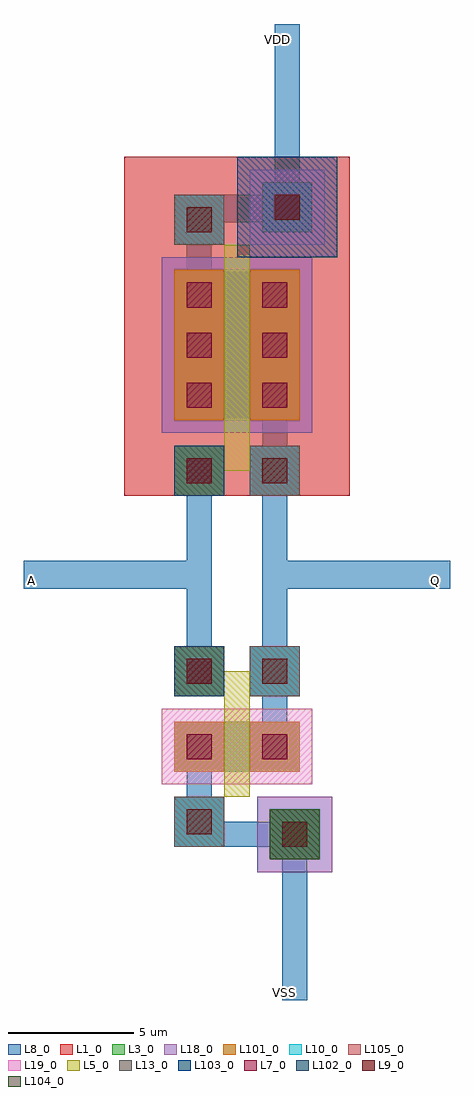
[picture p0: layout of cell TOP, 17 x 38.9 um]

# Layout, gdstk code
import gdstk
lib = gdstk.Library(unit=1e-6, precision=1e-07)
def R(c, l, rs):  # rectangles x0, y0, x1, y1
    for r in rs: c.add(gdstk.rectangle(r[:2], r[2:], *l))
L1_0 = (1, 0)
L3_0 = (3, 0)
L5_0 = (5, 0)
L7_0 = (7, 0)
L8_0 = (8, 0)
L9_0 = (9, 0)
L10_0 = (10, 0)
L13_0 = (13, 0)
L18_0 = (18, 0)
L19_0 = (19, 0)
L101_0 = (101, 0)
L102_0 = (102, 0)
L103_0 = (103, 0)
L104_0 = (104, 0)
L105_0 = (105, 0)

dcont = lib.new_cell('dcont')
R(dcont, L3_0, [(-1,-1,1,1)])
R(dcont, L7_0, [(-0.5,-0.5,0.5,0.5)])
R(dcont, L8_0, [(-1,-1,1,1)])
R(dcont, L13_0, [(-0.5,-0.5,0.5,0.5)])
R(dcont, L101_0, [(-1,-1,1,1)])

pcont = lib.new_cell('pcont')
R(pcont, L5_0, [(-1,-1,1,1)])
R(pcont, L7_0, [(-0.5,-0.5,0.5,0.5)])
R(pcont, L8_0, [(-1,-1,1,1)])
R(pcont, L13_0, [(-0.5,-0.5,0.5,0.5)])
R(pcont, L102_0, [(-1,-1,1,1)])

via = lib.new_cell('Via')
R(via, L8_0, [(-1,-1,1,1)])
R(via, L9_0, [(-0.5,-0.5,0.5,0.5)])
R(via, L10_0, [(-1,-1,1,1)])
R(via, L13_0, [(-0.5,-0.5,0.5,0.5)])
R(via, L105_0, [(-1,-1,1,1)])

dcont1 = lib.new_cell('dcont1')
R(dcont1, L3_0, [(-1,-1,1,1)])
R(dcont1, L7_0, [(-0.5,-0.5,0.5,0.5)])
R(dcont1, L8_0, [(-1,-1,1,1)])
R(dcont1, L13_0, [(-0.5,-0.5,0.5,0.5)])
R(dcont1, L101_0, [(-1,-1,1,1)])

nsubcont = lib.new_cell('nsubcont')
R(nsubcont, L1_0, [(-2,-2,2,2)])
R(nsubcont, L19_0, [(-1.5,-1.5,1.5,1.5)])
R(nsubcont, L103_0, [(-2,-2,2,2)])
nsubcont.add(gdstk.Reference(dcont1, (0,0)))

pch = lib.new_cell('Pch')
R(pch, L1_0, [(-2,0,7,13.5)])
R(pch, L3_0, [(0,3,5,9)])
R(pch, L18_0, [(-0.5,2.5,5.5,9.5)])
pch.add(gdstk.FlexPath([(2.5,3),(2.5,9)], 1, ends=(1, 1), simple_path=True, layer=5, datatype=0))  # L5_0
pch.add(gdstk.FlexPath([(1,1.5),(2.5,1.5),(2.5,2)], 1, ends="flush", simple_path=True, layer=5, datatype=0))  # L5_0
pch.add(gdstk.FlexPath([(1,3),(1,9)], 2, ends="flush", simple_path=True, layer=8, datatype=0))  # L8_0
pch.add(gdstk.FlexPath([(4,3),(4,9)], 2, ends="flush", simple_path=True, layer=8, datatype=0))  # L8_0
pch.add(gdstk.FlexPath([(1,8),(1,11)], 1, ends="flush", simple_path=True, layer=8, datatype=0))  # L8_0
pch.add(gdstk.FlexPath([(4,1),(4,4)], 1, ends="flush", simple_path=True, layer=8, datatype=0))  # L8_0
pch.add(gdstk.Reference(dcont, (1,4)))
pch.add(gdstk.Reference(dcont, (1,6)))
pch.add(gdstk.Reference(dcont, (1,8)))
pch.add(gdstk.Reference(dcont, (4,4)))
pch.add(gdstk.Reference(dcont, (4,6)))
pch.add(gdstk.Reference(dcont, (4,8)))
pch.add(gdstk.Reference(pcont, (1,1)))
pch.add(gdstk.Reference(via, (1,1)))
pch.add(gdstk.Reference(via, (1,11)))
pch.add(gdstk.Reference(via, (4,1)))
pch.add(gdstk.Reference(nsubcont, (4.5,11.5)))
pch.add(gdstk.Reference(via, (4.5,11.5)))

psubcont = lib.new_cell('psubcont')
R(psubcont, L18_0, [(-1.5,-1.5,1.5,1.5)])
R(psubcont, L104_0, [(-1,-1,1,1)])
psubcont.add(gdstk.Reference(dcont1, (0,0)))

nch = lib.new_cell('Nch')
R(nch, L3_0, [(0,3,5,5)])
R(nch, L19_0, [(-0.5,2.5,5.5,5.5)])
nch.add(gdstk.FlexPath([(2.5,3),(2.5,5)], 1, ends=(1, 1), simple_path=True, layer=5, datatype=0))  # L5_0
nch.add(gdstk.FlexPath([(1,6.5),(2.5,6.5),(2.5,6)], 1, ends="flush", simple_path=True, layer=5, datatype=0))  # L5_0
nch.add(gdstk.FlexPath([(1,3),(1,5)], 2, ends="flush", simple_path=True, layer=8, datatype=0))  # L8_0
nch.add(gdstk.FlexPath([(4,3),(4,5)], 2, ends="flush", simple_path=True, layer=8, datatype=0))  # L8_0
nch.add(gdstk.FlexPath([(1,1),(1,4)], 1, ends="flush", simple_path=True, layer=8, datatype=0))  # L8_0
nch.add(gdstk.FlexPath([(4,4),(4,7)], 1, ends="flush", simple_path=True, layer=8, datatype=0))  # L8_0
nch.add(gdstk.Reference(dcont, (1,4)))
nch.add(gdstk.Reference(dcont, (4,4)))
nch.add(gdstk.Reference(pcont, (1,7)))
nch.add(gdstk.Reference(via, (1,7)))
nch.add(gdstk.Reference(via, (1,1)))
nch.add(gdstk.Reference(via, (4,7)))
nch.add(gdstk.Reference(psubcont, (4.8,0.5)))
nch.add(gdstk.Reference(via, (4.8,0.5)))

top = lib.new_cell('TOP')
R(top, L8_0, [(6.3,-18,7.3,-10.9), (2.5,-11.9,7.3,-10.9), (2.5,-4.9,3.5,3.1), (5.5,-4.9,6.5,3.1), (-4,-1.6,3.5,-0.5), (5.5,-1.6,13,-0.5), (2.5,13,7,14.1), (6,13.1,7,20.9)])
top.add(gdstk.Reference(pch, (2,2.1)))
top.add(gdstk.Reference(nch, (2,-11.9)))
top.add(gdstk.Label('A', (-3.7,-1.3), layer=8, texttype=0))
top.add(gdstk.Label('Q', (12.4,-1.3), layer=8, texttype=0))
top.add(gdstk.Label('VDD', (6.1,20.3), layer=8, texttype=0))
top.add(gdstk.Label('VSS', (6.4,-17.7), layer=8, texttype=0))

lib.write_gds('TOP.gds')
